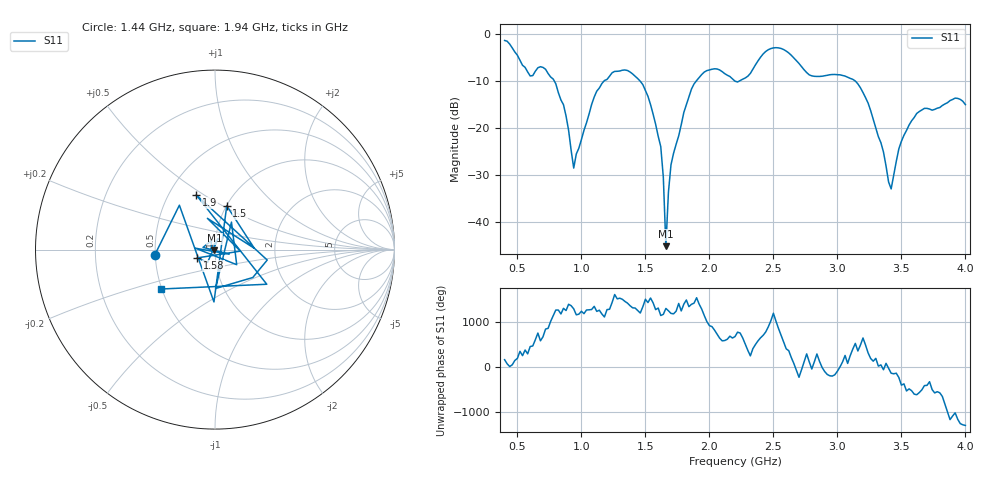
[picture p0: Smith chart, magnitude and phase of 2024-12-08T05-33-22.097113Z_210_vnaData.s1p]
!Created with skrf (http://scikit-rf.org).
# Hz S RI R 50.0
!freq ReS11 ImS11
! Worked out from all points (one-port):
!   181 points, 400 MHz to 4 GHz, reference 50 ohm
!   lowest |S11| = -45.1 dB at 1.66 GHz (marker M1), VSWR 1.01, Z = 49.6 - j0.432 ohm
!   |S11| at or under -10 dB: 789.6 MHz to 1.175 GHz (385 MHz wide, 39.2 % of centre); 1.461 GHz to 1.895 GHz (434.8 MHz wide, 25.9 % of centre); 3.142 GHz to end of sweep (the widest 3 of 4)
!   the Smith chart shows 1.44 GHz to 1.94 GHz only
!   S11 on the Smith chart (normalised r, x): 1.44 GHz: 0.50, -0.04; 1.5 GHz: 1.00, +0.52; 1.58 GHz: 0.81, -0.08; 1.9 GHz: 0.68, +0.46; 1.94 GHz: 0.49, -0.25
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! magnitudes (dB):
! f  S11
! 400 MHz  -1.3
! 600 MHz  -8.9
! 720 MHz  -7.4
! 860 MHz  -15.0
! 940 MHz  -28.4
! 1.12 GHz  -12.1
! 1.3 GHz  -7.8
! 1.44 GHz  -9.4
! 1.5 GHz  -11.9
! 1.58 GHz  -19.1
! 1.62 GHz  -23.9
! 1.64 GHz  -30.4
! 1.66 GHz  -45.1
! 1.68 GHz  -33.6
! 1.7 GHz  -27.7
! 1.76 GHz  -21.6
! 1.9 GHz  -9.8
! 1.94 GHz  -8.5
! 2.2 GHz  -10.0
! 2.48 GHz  -3.0
! 2.66 GHz  -5.0
! 2.8 GHz  -8.8
! 3.1 GHz  -9.4
! 3.24 GHz  -14.6
! 3.42 GHz  -32.9
! 3.48 GHz  -24.4
! 3.56 GHz  -19.3
! 4 GHz  -14.9
